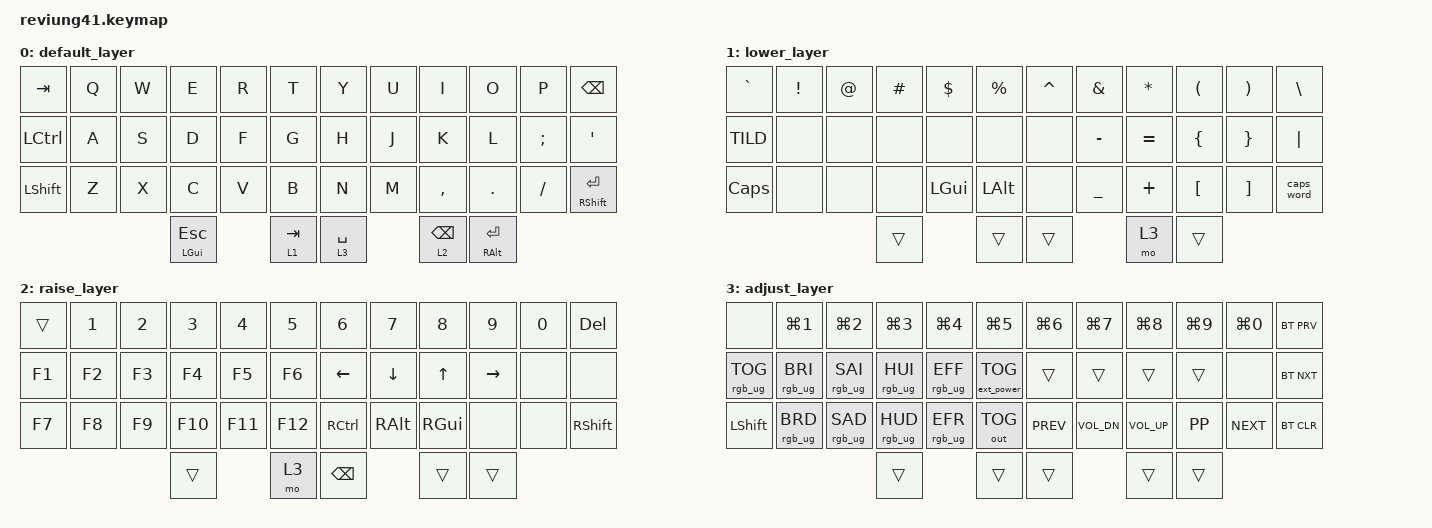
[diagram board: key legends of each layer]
/*
 * Copyright (c) 2020 The ZMK Contributors
 *
 * SPDX-License-Identifier: MIT
 */

#include <behaviors.dtsi>
#include <dt-bindings/zmk/keys.h>
#include <dt-bindings/zmk/bt.h>
#include <dt-bindings/zmk/rgb.h>
#include <dt-bindings/zmk/outputs.h>
#include <dt-bindings/zmk/ext_power.h>

/ {
        keymap {
                compatible = "zmk,keymap";

                default_layer {
// -------------------------------------------------------------------------------------
// |  TAB |  Q  |  W  |  E  |  R  |  T  |   |  Y  |  U   |  I  |  O  |  P  |   BKSP    |
// | CTRL |  A  |  S  |  D  |  F  |  G  |   |  H  |  J   |  K  |  L  |  ;  |    '      |
// | SHFT |  Z  |  X  |  C  |  V  |  B  |   |  N  |  M   |  ,  |  .  |  /  | SHFT(RET) |
//                         | ALT | LWR | SPC | RSE  | ALT |
                        bindings = <
   &kp TAB   &kp Q &kp W &kp E &kp R &kp T   &kp Y &kp U  &kp I     &kp O   &kp P    &kp BSPC
   &kp LCTRL &kp A &kp S &kp D &kp F &kp G   &kp H &kp J  &kp K     &kp L   &kp SEMI &kp SQT
   &kp LSHFT &kp Z &kp X &kp C &kp V &kp B   &kp N &kp M  &kp COMMA &kp DOT &kp FSLH &mt RSHFT RET
                        &mt LGUI ESC &lt 1 TAB &lt 3 SPACE &lt 2 BSPC &mt RALT RET
                        >;
                };

                lower_layer {
// ------------------------------------------------------------------------------------
// |    |  !  |  @  |  #  |  $  |  %  |   |  ^  |  &  |  *  |  (  |  )  |      DEL    |
// |    |  _  |  +  |  {  |  }  | "|" |   | LFT | DWN |  UP | RGT |  `  |       ~     |
// |    | ESC | GUI | ALT | CAPS|  "  |   | HOME| END | PGUP| PGDN| PRSC| SHFT(SPACE) |
//                       |     |     | RET | ADJ |     |
                        bindings = <
   &kp GRAVE &kp EXCL   &kp AT      &kp HASH &kp DLLR &kp PRCNT      &kp CARET &kp AMPS  &kp ASTRK &kp LPAR &kp RPAR  &kp BSLH
   &kp TILD  &none      &none       &none    &none    &none          &none     &kp MINUS &kp EQUAL &kp LBRC &kp RBRC  &kp PIPE
   &kp CLCK  &none      &none       &none    &kp LGUI &kp LALT        &none     &kp UNDER &kp PLUS  &kp LBKT &kp RBKT  &caps_word
                                 &trans      &trans       &trans        &mo 3       &trans
                        >;
                };

                raise_layer {
// ----------------------------------------------------------------------------
// |    |  1  |  2  |  3  |  4  |  5  |   |  6  |  7  |  8  |  9  |  0  | DEL |
// |    |  -  |  =  |  [  |  ]  |  \  |   | F1  | F2  | F3  | F4  | F5  | F6  |
// |    | ESC | GUI | ALT | CAPS|  "  |   | F7  | F8  | F9  | F10 | F11 | F12 |
//                       |     | ADJ | BKSP |    |     |
                        bindings = <
   &trans    &kp N1    &kp N2    &kp N3    &kp N4    &kp N5        &kp N6    &kp N7    &kp N8    &kp N9    &kp N0    &kp DEL
   &kp F1    &kp F2    &kp F3    &kp F4    &kp F5    &kp F6        &kp LEFT  &kp DOWN  &kp UP    &kp RIGHT &none     &none
   &kp F7    &kp F8    &kp F9    &kp F10   &kp F11   &kp F12       &kp RCTRL &kp RALT  &kp RGUI  &none     &none     &kp RSHFT
                                    &trans      &mo 3       &kp BSPC        &trans      &trans
                        >;
                };

                adjust_layer {
// -----------------------------------------------------------------------------------------
// | RGB BRI+ | RGB SAT+ | RGB HUE+ | RGB ANI+ |    | RGB TOG |   |  BT1  | BT2 | BT3 | BT4 | BT5 | BT CLR |
// | RGB BRI- | RGB SAT- | RGB HUE- | RGB ANI- |    |         |   |       |     |     |     |     |        |
// |          |          |          |          |    |         |   | RESET |     |     |     |     |        |
//                                              |     |     |     |     |     |
                        bindings = <
   &none           &kp LG(N1)      &kp LG(N2)      &kp LG(N3)      &kp LG(N4)      &kp LG(N5)         &kp LG(N6)   &kp LG(N7)   &kp LG(N8)   &kp LG(N9)   &kp LG(N0)    &bt BT_PRV 
   &rgb_ug RGB_TOG &rgb_ug RGB_BRI &rgb_ug RGB_SAI &rgb_ug RGB_HUI &rgb_ug RGB_EFF &ext_power EP_TOG  &trans       &trans       &trans       &trans       &none         &bt BT_NXT
   &kp LSHFT       &rgb_ug RGB_BRD &rgb_ug RGB_SAD &rgb_ug RGB_HUD &rgb_ug RGB_EFR &out OUT_TOG       &kp K_PREV   &kp K_VOL_DN &kp K_VOL_UP &kp K_PP     &kp K_NEXT    &bt BT_CLR
                                                             &trans      &trans       &trans        &trans      &trans
                        >;
                };
        };
};
